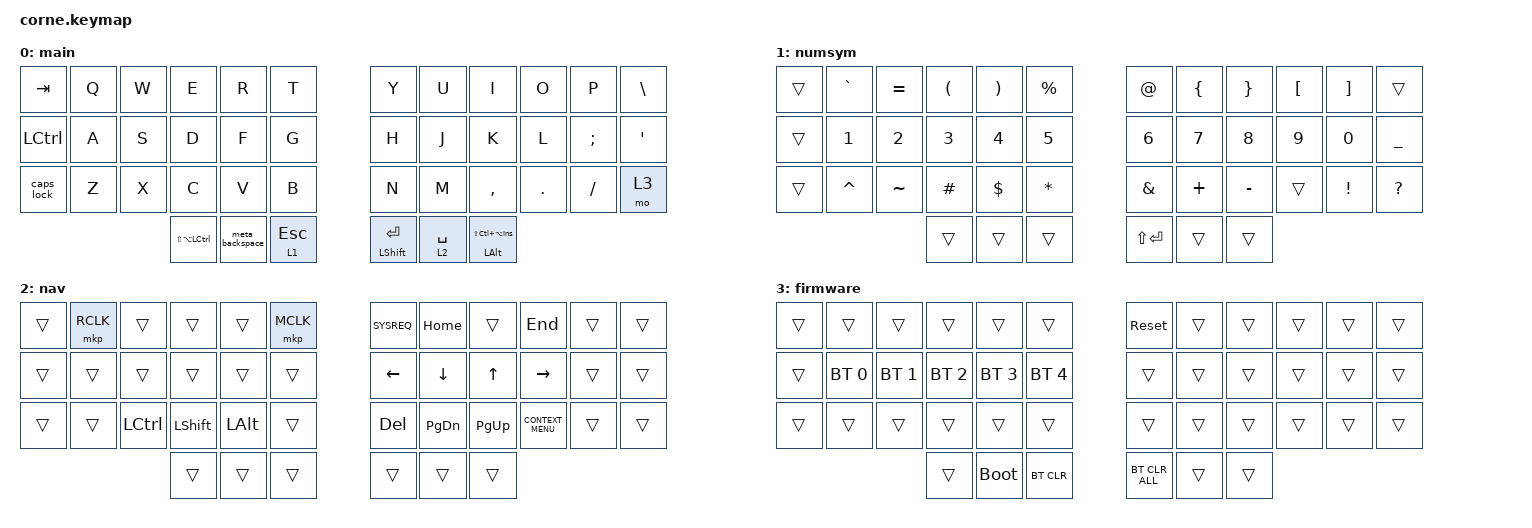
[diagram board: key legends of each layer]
/*
 * Copyright (c) 2020 The ZMK Contributors
 *
 * SPDX-License-Identifier: MIT
 */

#include <behaviors.dtsi>
#include <dt-bindings/zmk/bt.h>
#include <dt-bindings/zmk/keys.h>
#include <dt-bindings/zmk/mouse.h>

&lt { tapping-term-ms = <100>; };

&mt { tapping-term-ms = <100>; };

/ {
    combos {
        compatible = "zmk,combos";

        caps_lock {
            bindings = <&kp CAPSLOCK>;
            key-positions = <24 35>;
        };
    };

    behaviors {
        caps_lock: caps_lock {
            compatible = "zmk,behavior-tap-dance";
            label = "CAPS_LOCK";
            #binding-cells = <0>;
            bindings = <&none>, <&kp CAPSLOCK>;

            tapping-term-ms = <200>;
        };

        meta_backspace: meta_backspace {
            compatible = "zmk,behavior-tap-dance";
            label = "META_BACKSPACE";
            #binding-cells = <0>;
            bindings = <&mt LEFT_GUI BACKSPACE>, <&kp BACKSPACE>;

            tapping-term-ms = <100>;
        };

        space_nav: space_nav {
            compatible = "zmk,behavior-hold-tap";
            label = "SPACE_NAV";
            bindings = <&mo>, <&kp>;

            #binding-cells = <2>;
            tapping-term-ms = <150>;
            flavor = "tap-preferred";
        };
    };

    keymap {
        compatible = "zmk,keymap";

        main {
            bindings = <
&kp TAB     &kp Q  &kp W  &kp E              &kp R            &kp T        &kp Y                 &kp U               &kp I                            &kp O    &kp P          &kp BACKSLASH
&kp LCTRL   &kp A  &kp S  &kp D              &kp F            &kp G        &kp H                 &kp J               &kp K                            &kp L    &kp SEMICOLON  &kp SQT
&caps_lock  &kp Z  &kp X  &kp C              &kp V            &kp B        &kp N                 &kp M               &kp COMMA                        &kp DOT  &kp FSLH       &mo 3
                          &kp LS(LA(LCTRL))  &meta_backspace  &lt 1 ESC    &mt LEFT_SHIFT ENTER  &space_nav 2 SPACE  &mt LEFT_ALT LS(LC(LA(INSERT)))
            >;
        };

        numsym {
            bindings = <
&trans  &kp GRAVE     &kp EQUAL     &kp LEFT_PARENTHESIS  &kp RIGHT_PARENTHESIS  &kp PERCENT     &kp AT         &kp LEFT_BRACE  &kp RIGHT_BRACE  &kp LEFT_BRACKET  &kp RIGHT_BRACKET  &trans
&trans  &kp NUMBER_1  &kp NUMBER_2  &kp NUMBER_3          &kp NUMBER_4           &kp N5          &kp NUMBER_6   &kp N7          &kp N8           &kp N9            &kp N0             &kp UNDER
&trans  &kp CARET     &kp TILDE     &kp HASH              &kp DOLLAR             &kp ASTERISK    &kp AMPERSAND  &kp PLUS        &kp MINUS        &trans            &kp EXCLAMATION    &kp QUESTION
                                    &trans                &trans                 &trans          &kp LS(ENTER)  &trans          &trans
            >;
        };

        nav {
            bindings = <
&trans  &mkp RCLK  &trans     &trans      &trans        &mkp MCLK    &kp SYSREQ  &kp HOME        &trans        &kp END             &trans  &trans
&trans  &trans     &trans     &trans      &trans        &trans       &kp LEFT    &kp DOWN_ARROW  &kp UP_ARROW  &kp RIGHT_ARROW     &trans  &trans
&trans  &trans     &kp LCTRL  &kp LSHIFT  &kp LEFT_ALT  &trans       &kp DEL     &kp PAGE_DOWN   &kp PG_UP     &kp K_CONTEXT_MENU  &trans  &trans
                              &trans      &trans        &trans       &trans      &trans          &trans
            >;
        };

        firmware {
            bindings = <
&trans  &trans        &trans        &trans        &trans        &trans          &sys_reset      &trans  &trans  &trans  &trans  &trans
&trans  &bt BT_SEL 0  &bt BT_SEL 1  &bt BT_SEL 2  &bt BT_SEL 3  &bt BT_SEL 4    &trans          &trans  &trans  &trans  &trans  &trans
&trans  &trans        &trans        &trans        &trans        &trans          &trans          &trans  &trans  &trans  &trans  &trans
                                    &trans        &bootloader   &bt BT_CLR      &bt BT_CLR_ALL  &trans  &trans
            >;
        };
    };
};
